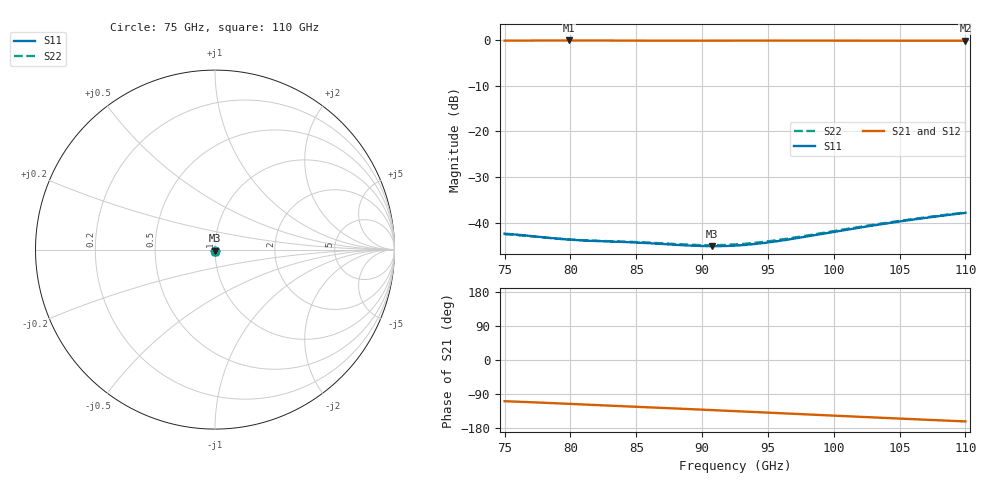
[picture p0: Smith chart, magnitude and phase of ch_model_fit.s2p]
! .MODEL  SMODEL ch_model S  TSTONEFILE=.\ch_model_fit.s2p  TYPE=SFMAX=  3e+11
! The above .MODEL line can be used for the S element in the netlist.
# Hz S RI R  50
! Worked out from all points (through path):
!   101 points, 75 GHz to 110 GHz, reference 50 ohm
!   highest |S21| = -0.12 dB at 79.9 GHz (marker M1); lowest = -0.2 dB at 110 GHz (marker M2)
!   group delay of S21, straight-line fit = 4.28 ps
!   lowest |S11| = -45.2 dB at 90.75 GHz (marker M3), VSWR 1.01, Z = 49.9 - j0.542 ohm
!   |S11| at or under -10 dB: start of sweep to end of sweep
!   |S22| runs from -45.0 to -37.8 dB; largest |S21 - S12| = 0
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7.5e10  0.000965 -0.00749  -0.316 -0.9297  -0.316 -0.9297  0.000978 -0.00739
7.605e10  0.000305 -0.00733  -0.3382 -0.9227  -0.3382 -0.9227  0.000325 -0.00726
7.78e10  -0.000479 -0.0069  -0.3779 -0.9095  -0.3779 -0.9095  -0.000465 -0.00688
7.885e10  -0.000767 -0.00664  -0.4028 -0.8999  -0.4028 -0.8999  -0.000763 -0.00664
7.99e10  -0.000955 -0.00643  -0.428 -0.8887  -0.428 -0.8887  -0.000965 -0.00644
8.095e10  -0.00108 -0.00627  -0.4528 -0.876  -0.4528 -0.876  -0.00111 -0.00629
8.27e10  -0.00125 -0.00608  -0.4927 -0.8523  -0.4927 -0.8523  -0.0013 -0.00613
8.48e10  -0.00141 -0.00588  -0.5378 -0.8219  -0.5378 -0.8219  -0.00147 -0.00594
8.69e10  -0.00143 -0.00565  -0.5812 -0.7902  -0.5812 -0.7902  -0.0015 -0.00572
8.9e10  -0.00122 -0.00546  -0.624 -0.7569  -0.624 -0.7569  -0.0013 -0.00556
9.005e10  -0.00103 -0.00543  -0.6453 -0.7394  -0.6453 -0.7394  -0.00113 -0.00554
9.075e10  -0.000887 -0.00543  -0.6593 -0.7272  -0.6593 -0.7272  -0.000996 -0.00556
9.18e10  -0.000647 -0.00549  -0.68 -0.7084  -0.68 -0.7084  -0.000772 -0.00563
9.25e10  -0.000478 -0.00556  -0.6936 -0.6954  -0.6936 -0.6954  -0.000613 -0.00571
9.355e10  -0.000218 -0.00573  -0.7136 -0.6753  -0.7136 -0.6753  -0.000372 -0.00589
9.495e10  0.000122 -0.00603  -0.7394 -0.6473  -0.7394 -0.6473  -5.87e-05 -0.0062
9.635e10  0.000435 -0.00643  -0.7639 -0.6182  -0.7639 -0.6182  0.000226 -0.00661
9.845e10  0.000822 -0.00718  -0.7983 -0.5726  -0.7983 -0.5726  0.00057 -0.00737
1.0125e11  0.00114 -0.00837  -0.8393 -0.5092  -0.8393 -0.5092  0.000831 -0.00857
1.044e11  0.00121 -0.00989  -0.8788 -0.4354  -0.8788 -0.4354  0.000833 -0.0101
1.072e11  0.00102 -0.0113  -0.9081 -0.3685  -0.9081 -0.3685  0.000582 -0.0115
1.1e11  0.000597 -0.0127  -0.9322 -0.3011  -0.9322 -0.3011  0.00011 -0.0129
